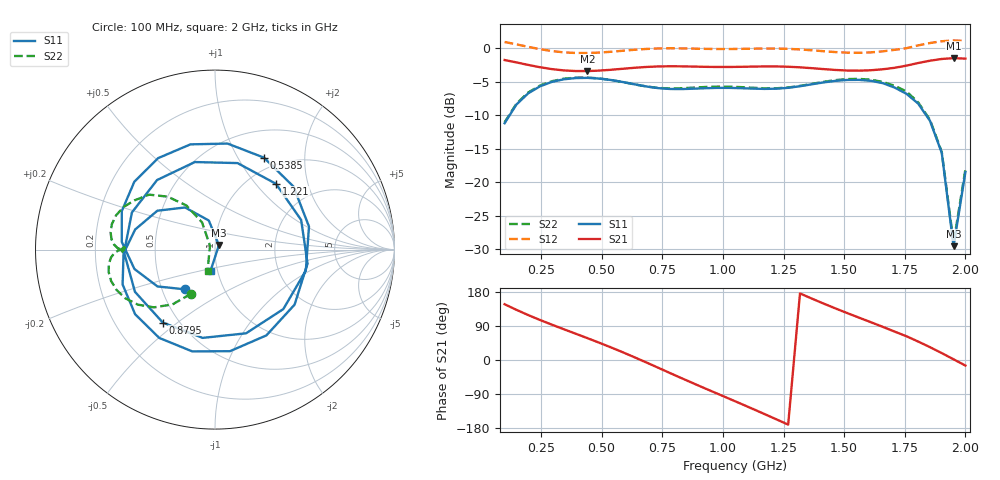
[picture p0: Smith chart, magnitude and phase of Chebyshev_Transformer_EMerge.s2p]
! Generated on: 2025-06-29 14:45:02
! Project: {project_name}
! Simulation software: EMerge
# Hz S RI R 50
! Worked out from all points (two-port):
!   40 points, 100 MHz to 2 GHz, reference 50 ohm
!   highest |S21| = -1.46 dB at 1.951 GHz (marker M1); lowest = -3.4 dB at 441 MHz (marker M2)
!   |S21| within 3 dB of the highest: start of sweep to end of sweep
!   lowest |S11| = -29.6 dB at 1.951 GHz (marker M3), VSWR 1.07, Z = 52.2 + j2.62 ohm
!   |S11| at or under -10 dB: start of sweep to 120.6 MHz; 1.838 GHz to end of sweep
!   |S22| runs from -29.0 to -4.4 dB; largest |S21 - S12| = 0.3
!   S11 on the Smith chart (normalised r, x): 100 MHz: 0.66, -0.32; 538.5 MHz: 0.84, +1.30; 879.5 MHz: 0.41, -0.44; 1.221 GHz: 1.31, +1.29; 2 GHz: 0.93, -0.22
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1e8  -0.1647 -0.2215  -0.6877 0.4437  -0.9384 0.6053  -0.1336 -0.2463
1.974359e8  -0.4491 -0.1077  -0.3594 0.6611  -0.4904 0.9019  -0.3402 -0.3219
2.948718e8  -0.5194 0.2145  -0.0394 0.699  -0.054 0.9536  -0.4997 -0.271
4.410256e8  -0.1368 0.5863  0.3611 0.5725  0.4924 0.7808  -0.5926 -0.1242
5.384615e8  0.2733 0.5121  0.5784 0.3801  0.7886 0.5183  -0.5793 -0.0438
6.358974e8  0.5237 0.1284  0.7109 0.0891  0.9691 0.1214  -0.5384 -0.00492
6.846154e8  0.506 -0.1168  0.7218 -0.0827  0.9838 -0.1129  -0.5193 -0.00183
7.820513e8  0.1731 -0.4664  0.6066 -0.4154  0.8264 -0.5662  -0.5017 -0.0126
8.794872e8  -0.2903 -0.407  0.3441 -0.6452  0.4683 -0.8791  -0.5089 -0.0182
9.769231e8  -0.5067 -0.0156  0.0159 -0.7263  0.0211 -0.9889  -0.5181 -0.00615
1.074359e9  -0.3227 0.3877  -0.3127 -0.6579  -0.4264 -0.8952  -0.5136 0.0097
1.171795e9  0.1256 0.482  -0.5832 -0.4444  -0.7942 -0.6039  -0.5034 0.0116
1.220513e9  0.3396 0.3667  -0.6727 -0.2913  -0.9156 -0.3954  -0.5035 0.00686
1.317949e9  0.5157 -0.0775  -0.7198 0.0548  -0.9791 0.0758  -0.5244 0.00129
1.366667e9  0.4434 -0.3067  -0.6771 0.2189  -0.9206 0.299  -0.543 0.009
1.512821e9  -0.1266 -0.5672  -0.3801 0.5679  -0.5156 0.7731  -0.5819 0.0963
1.610256e9  -0.445 -0.3601  -0.1158 0.6766  -0.1555 0.9206  -0.5511 0.1909
1.707692e9  -0.5095 -0.0212  0.1844 0.6916  0.2561 0.9411  -0.4492 0.2741
1.853846e9  -0.1667 0.2347  0.6713 0.4512  0.9109 0.6105  -0.1594 0.246
1.902564e9  -0.0347 0.1622  0.7921 0.2602  1.075 0.3515  -0.0723 0.1519
1.951282e9  0.0219 0.0251  0.8447 0.027  1.146 0.0351  -0.0277 0.0219
2e9  -0.0241 -0.1165  0.8115 -0.2122  1.1 -0.2892  -0.0417 -0.1173
